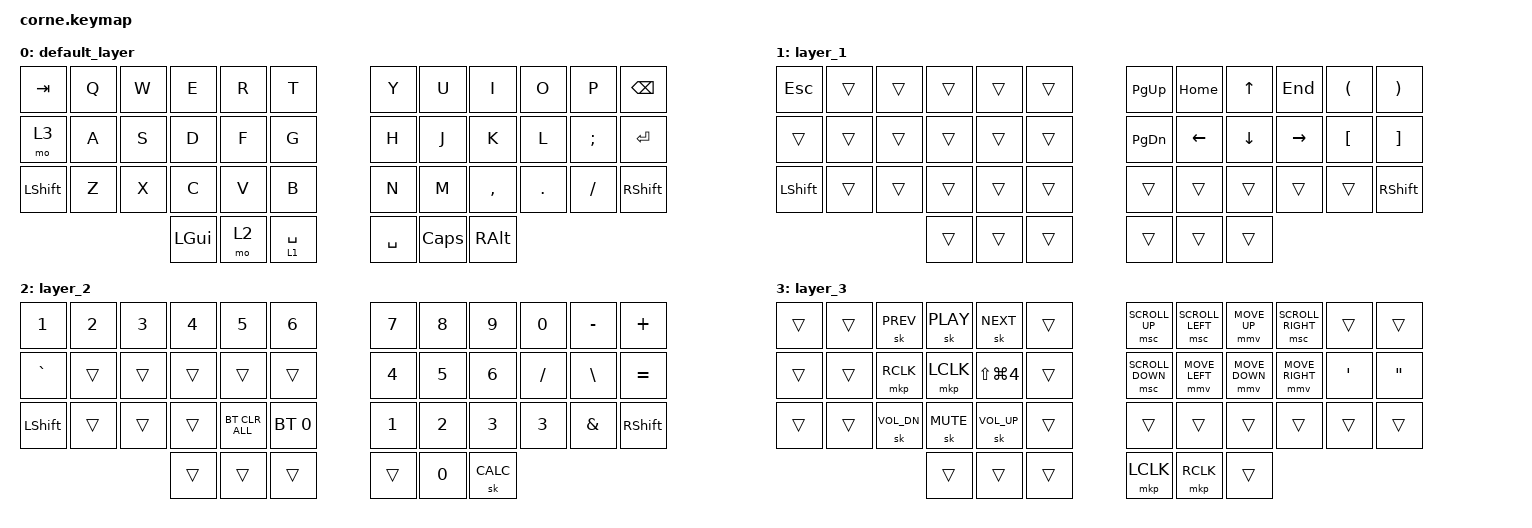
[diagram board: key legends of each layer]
/*
 * Copyright (c) 2020 The ZMK Contributors
 *
 * SPDX-License-Identifier: MIT
 */

#include <behaviors.dtsi>
#include <dt-bindings/zmk/keys.h>
#include <dt-bindings/zmk/bt.h>
#include <dt-bindings/zmk/mouse.h>
#include "mouse.dtsi"
#define AS(keycode) &as LS(keycode) keycode  

#define BASE 0
#define NAV 1
#define MUS 2
#define NUM 3
#define FUN 4
#define MBASE 5
#define MNAV 6
#define MMUS 7
#define MNUM 8
#define MFUN 9

#define XXX &none
#define TRN &trans

/ {
    combos { compatible = "zmk,combos"; };

    keymap {
        compatible = "zmk,keymap";

        default_layer {
            // -----------------------------------------------------------------------------------------
            // |  TAB |  Q  |  W  |  E  |  R  |  T  |   |  Y  |  U   |  I  |  O  |  P  | BKSP |
            // | CTRL |  A  |  S  |  D  |  F  |  G  |   |  H  |  J   |  K  |  L  |  ;  |  '   |
            // | SHFT |  Z  |  X  |  C  |  V  |  B  |   |  N  |  M   |  ,  |  .  |  /  | ESC  |
            //                    | GUI | LWR | SPC |   | ENT | RSE  | ALT |

            bindings = <
&kp TAB    &kp Q  &kp W  &kp E      &kp R  &kp T          &kp Y      &kp U         &kp I      &kp O    &kp P              &kp BSPC
&mo 3      &kp A  &kp S  &kp D      &kp F  &kp G          &kp H      &kp J         &kp K      &kp L    &kp SEMICOLON      &kp ENTER
&kp LSHFT  &kp Z  &kp X  &kp C      &kp V  &kp B          &kp N      &kp M         &kp COMMA  &kp DOT  &kp FSLH           &kp RSHIFT
                         &kp LGUI  &mo 2  &lt 1 SPACE    &kp SPACE  &kp CAPSLOCK  &kp RIGHT_ALT
            >;
        };

        layer_1 {
            // -----------------------------------------------------------------------------------------
            // |  TAB |  1  |  2  |  3  |  4  |  5  |   |  6  |  7  |  8  |  9  |  0  | BKSP |
            // | BTCLR| BT1 | BT2 | BT3 | BT4 | BT5 |   | LFT | DWN |  UP | RGT |     |      |
            // | SHFT |     |     |     |     |     |   |     |     |     |     |     |      |
            //                    | GUI |     | SPC |   | ENT |     | ALT |

            bindings = <
&kp ESC    &trans  &trans  &trans  &trans  &trans    &kp PAGE_UP    &kp HOME        &kp UP_ARROW    &kp END          &kp LEFT_PARENTHESIS  &kp RIGHT_PARENTHESIS
&trans     &trans  &trans  &trans  &trans  &trans    &kp PAGE_DOWN  &kp LEFT_ARROW  &kp DOWN_ARROW  &kp RIGHT_ARROW  &kp LEFT_BRACKET      &kp RIGHT_BRACKET
&kp LSHFT  &trans  &trans  &trans  &trans  &trans    &trans         &trans          &trans          &trans           &trans                &kp RIGHT_SHIFT
                           &trans  &trans  &trans    &trans         &trans          &trans
            >;
        };

        layer_2 {
            // -----------------------------------------------------------------------------------------
            // |  TAB |  !  |  @  |  #  |  $  |  %  |   |  ^  |  &  |  *  |  (  |  )  | BKSP |
            // | CTRL |     |     |     |     |     |   |  -  |  =  |  [  |  ]  |  \  |  `   |
            // | SHFT |     |     |     |     |     |   |  _  |  +  |  {  |  }  | "|" |  ~   |
            //                    | GUI |     | SPC |   | ENT |     | ALT |

            bindings = <
&kp NUMBER_1  &kp NUMBER_2  &kp NUMBER_3  &kp NUMBER_4  &kp N5          &kp NUMBER_6    &kp NUMBER_7  &kp NUMBER_8  &kp NUMBER_9  &kp NUMBER_0  &kp MINUS      &kp PLUS
&kp GRAVE     &trans        &trans        &trans        &trans          &trans          &kp NUMBER_4  &kp NUMBER_5  &kp NUMBER_6  &kp SLASH     &kp BACKSLASH  &kp EQUAL
&kp LSHIFT    &trans        &trans        &trans        &bt BT_CLR_ALL  &bt BT_SEL 0    &kp NUMBER_1  &kp NUMBER_2  &kp NUMBER_3  &kp NUMBER_3  &kp AMPERSAND  &kp RIGHT_SHIFT
                                          &trans        &trans          &trans          &trans        &kp N0        &sk K_CALC
            >;
        };

        layer_3 {
            bindings = <
&trans       &trans       &sk K_PREV    &sk C_PLAY  &sk K_NEXT            &trans     &msc SCROLL_UP      &msc SCROLL_LEFT     &mmv MOVE_UP    &msc SCROLL_RIGHT  &trans   &trans 
&trans       &trans       &mkp RCLK     &mkp LCLK   &kp LS(LG(NUMBER_4))  &trans     &msc SCROLL_DOWN    &mmv MOVE_LEFT       &mmv MOVE_DOWN  &mmv MOVE_RIGHT  &kp SINGLE_QUOTE   &kp DOUBLE_QUOTES 
&trans       &trans       &sk C_VOL_DN  &sk K_MUTE  &sk C_VOL_UP          &trans     &trans              &trans               &trans          &trans           &trans   &trans
                                        &trans      &trans                &trans     &mkp LCLK           &mkp RCLK            &trans
            >;
        };
    };
};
